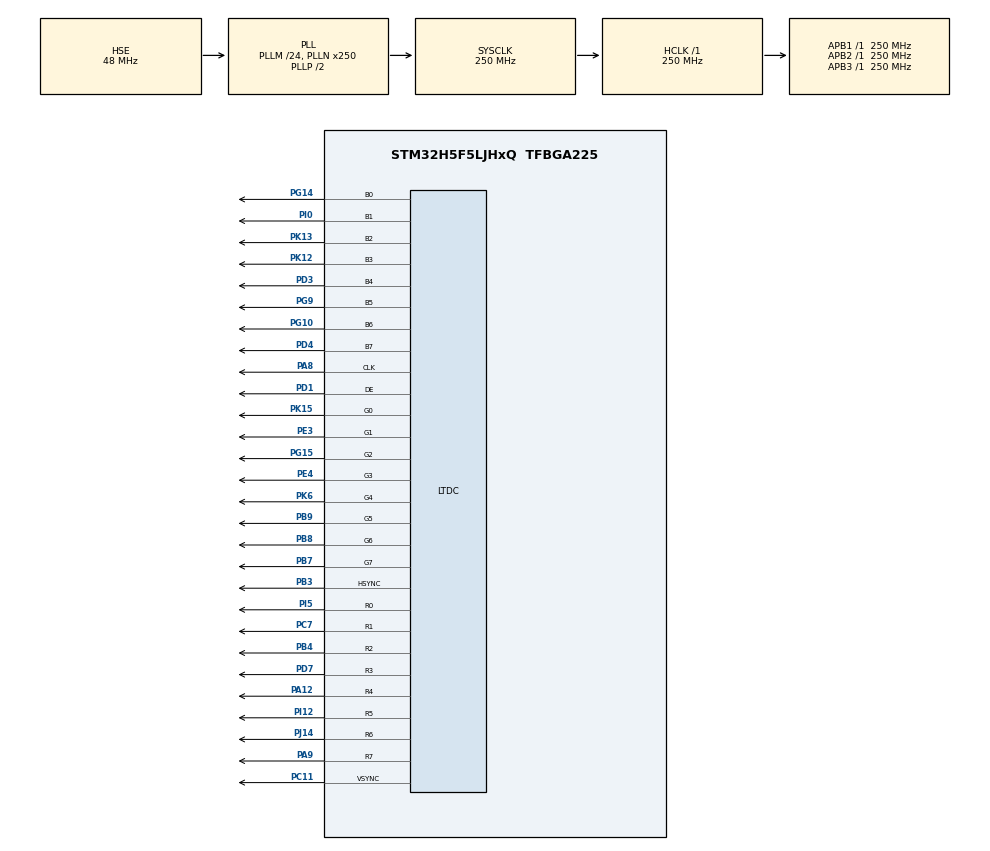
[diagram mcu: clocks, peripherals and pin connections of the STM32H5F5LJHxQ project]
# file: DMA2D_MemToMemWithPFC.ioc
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BOOTPATH.BootPathName=LEGACY
BOOTPATH.UserSelectedBootPath=LEGACY
CORTEX_M33_NS.userName=CORTEX_M33
DMA2D.AlphaModeForeground=DMA2D_NO_MODIF_ALPHA
DMA2D.ColorMode=DMA2D_OUTPUT_ARGB8888
DMA2D.InputAlphaForeground=0xFF
DMA2D.InputColorModeForeground=DMA2D_INPUT_RGB565
DMA2D.Mode=DMA2D_M2M_PFC
DMA2D.OutputOffset=LCD_X_Size - IMAGE_SIZE_X
Mcu.Family=STM32H5
Mcu.Name=STM32H5F5LJHxQ
Mcu.Package=TFBGA225
NVIC.DMA2D_IRQn=true\:0\:0\:false\:false\:true\:true\:true\:true
NVIC.PriorityGroup=NVIC_PRIORITYGROUP_4
PA12.Mode=RGB888
PA12.Signal=LTDC_R4
PA8.Mode=RGB888
PA8.Signal=LTDC_CLK
PA9.Mode=RGB888
PA9.Signal=LTDC_R7
PB3\ (JTDO/TRACESWO).Mode=RGB888
PB3\ (JTDO/TRACESWO).Signal=LTDC_HSYNC
PB4\ (NJTRST).Mode=RGB888
PB4\ (NJTRST).Signal=LTDC_R2
PB7.Mode=RGB888
PB7.Signal=LTDC_G7
PB8.Mode=RGB888
PB8.Signal=LTDC_G6
PB9.Mode=RGB888
PB9.Signal=LTDC_G5
PC11.Mode=RGB888
PC11.Signal=LTDC_VSYNC
PC7.Mode=RGB888
PC7.Signal=LTDC_R1
PD1.Mode=RGB888
PD1.Signal=LTDC_DE
PD3.Mode=RGB888
PD3.Signal=LTDC_B4
PD4.Mode=RGB888
PD4.Signal=LTDC_B7
PD7.Mode=RGB888
PD7.Signal=LTDC_R3
PE3.Mode=RGB888
PE3.Signal=LTDC_G1
PE4.Mode=RGB888
PE4.Signal=LTDC_G3
PG10.Mode=RGB888
PG10.Signal=LTDC_B6
PG14.Mode=RGB888
PG14.Signal=LTDC_B0
PG15.Mode=RGB888
PG15.Signal=LTDC_G2
PG9.Mode=RGB888
PG9.Signal=LTDC_B5
PH0-OSC_IN(PH0).Mode=HSE-External-Oscillator
PH0-OSC_IN(PH0).Signal=RCC_OSC_IN
PH1-OSC_OUT(PH1).Mode=HSE-External-Oscillator
PH1-OSC_OUT(PH1).Signal=RCC_OSC_OUT
PI0.Mode=RGB888
PI0.Signal=LTDC_B1
PI12.Mode=RGB888
PI12.Signal=LTDC_R5
PI5.Mode=RGB888
PI5.Signal=LTDC_R0
PJ14.Mode=RGB888
PJ14.Signal=LTDC_R6
PK12.Mode=RGB888
PK12.Signal=LTDC_B3
PK13.Mode=RGB888
PK13.Signal=LTDC_B2
PK15.Mode=RGB888
PK15.Signal=LTDC_G0
PK6.Mode=RGB888
PK6.Signal=LTDC_G4
ProjectManager.HeapSize=0x200
ProjectManager.StackSize=0x400
ProjectManager.TargetToolchain=EWARM V9.20
RCC.ADCFreq_Value=250000000
RCC.AHBFreq_Value=250000000
RCC.APB1Freq_Value=250000000
RCC.APB1TimFreq_Value=250000000
RCC.APB2Freq_Value=250000000
RCC.APB2TimFreq_Value=250000000
RCC.APB3Freq_Value=250000000
RCC.CSI_VALUE=4000000
RCC.CortexFreq_Value=250000000
RCC.EPOD_VALUE=48000000
RCC.HCLKFreq_Value=250000000
RCC.HSE_VALUE=48000000
RCC.HSI48_VALUE=48000000
RCC.HSI_VALUE=64000000
RCC.LSE_VALUE=32768
RCC.LSIRC_VALUE=32000
RCC.PLL2FRACN=0
RCC.PLL2R=3
RCC.PLL3FRACN=0
RCC.PLLFRACN=0
RCC.PLLM=24
RCC.PLLN=250
RCC.PLLSourceVirtual=RCC_PLL1_SOURCE_HSE
RCC.SYSCLKFreq_VALUE=250000000
RCC.SYSCLKSource=RCC_SYSCLKSOURCE_PLLCLK
RCC.USBFreq_Value=258000000
RCC.VCOOutputFreq_Value=500000000
VP_BOOTPATH_VS_BOOTPATH.Mode=BP_Activate
VP_CORTEX_M33_NS_VS_Hclk.Mode=Hclk_Mode
VP_DMA2D_VS_DMA2D.Mode=DMA2D_Activate
VP_ICACHE_VS_ICACHE.Mode=DefaultMode
VP_PWR_VS_LPOM.Mode=PowerOptimisation
VP_PWR_VS_SECSignals.Mode=Security/Privilege
board=custom

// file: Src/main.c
/* USER CODE BEGIN Header */
/**
  ******************************************************************************
  * @file           : main.c
  * @brief          : Main program body
  ******************************************************************************
  * @attention
  *
  * Copyright (c) 2025 STMicroelectronics.
  * All rights reserved.
  *
  * This software is licensed under terms that can be found in the LICENSE file
  * in the root directory of this software component.
  * If no LICENSE file comes with this software, it is provided AS-IS.
  *
  ******************************************************************************
  */
/* USER CODE END Header */
#include "main.h"

/* USER CODE BEGIN Includes */
#include "RGB565_240x130_2.h"
/* USER CODE END Includes */

DMA2D_HandleTypeDef hdma2d;

/* USER CODE BEGIN PV */
/* image Ready flag */
static __IO uint32_t   image_ready = 0;
static uint32_t   offset_address_image_in_lcd_buffer =  0;
static uint32_t LCD_X_Size = 0, LCD_Y_Size = 0;
/* USER CODE END PV */

void SystemClock_Config(void);
static void MX_GPIO_Init(void);
static void MX_ICACHE_Init(void);
static void MX_DMA2D_Init(void);
/* USER CODE BEGIN PFP */
static void TransferError(DMA2D_HandleTypeDef* dma2dHandle);
static void TransferComplete(DMA2D_HandleTypeDef* dma2dHandle);
/* USER CODE END PFP */

int main(void)
{

  /* USER CODE BEGIN 1 */
  HAL_StatusTypeDef hal_status = HAL_OK;
  uint8_t  lcd_status = BSP_ERROR_NONE;
  /* USER CODE END 1 */

  /* MCU Configuration--------------------------------------------------------*/

  /* Reset of all peripherals, Initializes the Flash interface and the Systick. */
  HAL_Init();

  /* Configure the system clock */
  SystemClock_Config();

  /* USER CODE BEGIN SysInit */
  BSP_LED_Init(LED_GREEN);
  BSP_LED_Init(LED_ORANGE);
  BSP_LED_Init(LED_RED);
  /* USER CODE END SysInit */

  /* Initialize all configured peripherals */
  MX_GPIO_Init();
  MX_ICACHE_Init();
  MX_DMA2D_Init();
  /* USER CODE BEGIN 2 */
  /*##-1- Initialize the LCD #################################################*/
  /* LTDC, DSI initialization and LCD screen initialization */
  lcd_status = BSP_LCD_Init(0, LCD_ORIENTATION_LANDSCAPE);
  UTIL_LCD_SetFuncDriver(&LCD_Driver);
  if(lcd_status != BSP_ERROR_NONE)
  {
     Error_Handler();
  }

  /* Get the LCD width and height */
  BSP_LCD_GetXSize(0,&LCD_X_Size);
  BSP_LCD_GetYSize(0,&LCD_Y_Size);

  offset_address_image_in_lcd_buffer =  ((((LCD_Y_Size - IMAGE_SIZE_Y) / 2) * LCD_X_Size)
                                                     + ((LCD_X_Size - IMAGE_SIZE_X) / 2))
                                                     * ARGB8888_BYTE_PER_PIXEL;

  /* Prepare using DMA2D the LCD frame buffer for display : LCD buffer clear and user message priniting*/
  UTIL_LCD_Clear(UTIL_LCD_COLOR_GRAY);
  UTIL_LCD_SetTextColor(UTIL_LCD_COLOR_WHITE);
  UTIL_LCD_SetBackColor(UTIL_LCD_COLOR_BLUE);
  UTIL_LCD_SetFont(&Font16);

  /* Print example description */
  UTIL_LCD_DisplayStringAt(0, 30, (uint8_t *)"DMA2D_MemToMemWithPFC example", CENTER_MODE);

  HAL_Delay(100);

  /* USER CODE END 2 */

  /* Infinite loop */
  /* USER CODE BEGIN WHILE */
  while (1)
  {
    /* Turn LED1 off */
    BSP_LED_Off(LED_GREEN);

    /* Reset the image ready flag*/
    image_ready = 0;

    /*##-3- Start DMA2D transfer to copy image in center of LCD frame buffer ##*/
    hal_status =  HAL_DMA2D_Start_IT(&hdma2d,
                         (uint32_t)&RGB565_240x130_2,                                       /* Source buffer in format RGB565 and size 320x240      */
                         (uint32_t)LCD_FRAME_BUFFER + offset_address_image_in_lcd_buffer,   /* Destination buffer in format ARGB8888*/
                         IMAGE_SIZE_X,                                                      /* width in pixels  */
                         IMAGE_SIZE_Y);                                                     /* height in pixels */

    if(hal_status != BSP_ERROR_NONE)
    {
       Error_Handler();
    }

    /*##-4- Wait until image is ready to be displayed #########################*/
    while(image_ready == 0) {;}

    HAL_Delay(2000);
    /* USER CODE END WHILE */

  }
}

void SystemClock_Config(void)
{
  RCC_OscInitTypeDef RCC_OscInitStruct = {0};
  RCC_ClkInitTypeDef RCC_ClkInitStruct = {0};

  /** Configure the main internal regulator output voltage
  */
  __HAL_PWR_VOLTAGESCALING_CONFIG(PWR_REGULATOR_VOLTAGE_SCALE0);

  while(!__HAL_PWR_GET_FLAG(PWR_FLAG_VOSRDY)) {}

  /** Initializes the RCC Oscillators according to the specified parameters
  * in the RCC_OscInitTypeDef structure.
  */
  RCC_OscInitStruct.OscillatorType = RCC_OSCILLATORTYPE_HSE|RCC_OSCILLATORTYPE_CSI;
  RCC_OscInitStruct.HSEState = RCC_HSE_ON;
  RCC_OscInitStruct.CSIState = RCC_CSI_ON;
  RCC_OscInitStruct.CSICalibrationValue = RCC_CSICALIBRATION_DEFAULT;
  RCC_OscInitStruct.PLL.PLLState = RCC_PLL_ON;
  RCC_OscInitStruct.PLL.PLLSource = RCC_PLL1_SOURCE_HSE;
  RCC_OscInitStruct.PLL.PLLM = 24;
  RCC_OscInitStruct.PLL.PLLN = 250;
  RCC_OscInitStruct.PLL.PLLP = 2;
  RCC_OscInitStruct.PLL.PLLQ = 2;
  RCC_OscInitStruct.PLL.PLLR = 2;
  RCC_OscInitStruct.PLL.PLLRGE = RCC_PLL1_VCIRANGE_1;
  RCC_OscInitStruct.PLL.PLLVCOSEL = RCC_PLL1_VCORANGE_WIDE;
  RCC_OscInitStruct.PLL.PLLFRACN = 0;
  if (HAL_RCC_OscConfig(&RCC_OscInitStruct) != HAL_OK)
  {
    Error_Handler();
  }

  /** Initializes the CPU, AHB and APB buses clocks
  */
  RCC_ClkInitStruct.ClockType = RCC_CLOCKTYPE_HCLK|RCC_CLOCKTYPE_SYSCLK
                              |RCC_CLOCKTYPE_PCLK1|RCC_CLOCKTYPE_PCLK2
                              |RCC_CLOCKTYPE_PCLK3;
  RCC_ClkInitStruct.SYSCLKSource = RCC_SYSCLKSOURCE_PLLCLK;
  RCC_ClkInitStruct.AHBCLKDivider = RCC_SYSCLK_DIV1;
  RCC_ClkInitStruct.APB1CLKDivider = RCC_HCLK_DIV1;
  RCC_ClkInitStruct.APB2CLKDivider = RCC_HCLK_DIV1;
  RCC_ClkInitStruct.APB3CLKDivider = RCC_HCLK_DIV1;

  if (HAL_RCC_ClockConfig(&RCC_ClkInitStruct, FLASH_LATENCY_5) != HAL_OK)
  {
    Error_Handler();
  }

  /** Configure the programming delay
  */
  __HAL_FLASH_SET_PROGRAM_DELAY(FLASH_PROGRAMMING_DELAY_2);
}

static void MX_DMA2D_Init(void)
{

  /* USER CODE BEGIN DMA2D_Init 0 */
  /* DMA2D Callbacks Configuration */
  hdma2d.XferCpltCallback  = TransferComplete;
  hdma2d.XferErrorCallback = TransferError;
  /* USER CODE END DMA2D_Init 0 */

  hdma2d.Instance = DMA2D;
  hdma2d.Init.Mode = DMA2D_M2M_PFC;
  hdma2d.Init.ColorMode = DMA2D_OUTPUT_ARGB8888;
  hdma2d.Init.OutputOffset = LCD_X_Size - IMAGE_SIZE_X;
  hdma2d.Init.BytesSwap = DMA2D_BYTES_REGULAR;
  hdma2d.Init.LineOffsetMode = DMA2D_LOM_PIXELS;
  hdma2d.LayerCfg[1].InputOffset = 0;
  hdma2d.LayerCfg[1].InputColorMode = DMA2D_INPUT_RGB565;
  hdma2d.LayerCfg[1].AlphaMode = DMA2D_NO_MODIF_ALPHA;
  hdma2d.LayerCfg[1].InputAlpha = 0xFF;
  hdma2d.LayerCfg[1].AlphaInverted = DMA2D_REGULAR_ALPHA;
  hdma2d.LayerCfg[1].RedBlueSwap = DMA2D_RB_REGULAR;
  hdma2d.LayerCfg[1].ChromaSubSampling = DMA2D_NO_CSS;
  if (HAL_DMA2D_Init(&hdma2d) != HAL_OK)
  {
    Error_Handler();
  }
  if (HAL_DMA2D_ConfigLayer(&hdma2d, 1) != HAL_OK)
  {
    Error_Handler();
  }

}

static void MX_ICACHE_Init(void)
{

  /** Enable instruction cache (default 2-ways set associative cache)
  */
  if (HAL_ICACHE_Enable() != HAL_OK)
  {
    Error_Handler();
  }

}

static void MX_GPIO_Init(void)
{

  /* GPIO Ports Clock Enable */
  __HAL_RCC_GPIOH_CLK_ENABLE();

}

/* USER CODE BEGIN 4 */
/**
  * @brief  DMA2D Transfer completed callback
  * @param  hdma2d: DMA2D handle.
  * @note   This example shows a simple way to report end of DMA2D transfer, and
  *         you can add your own implementation.
  * @retval None
  */
static void TransferComplete(DMA2D_HandleTypeDef *hdma2d)
{
  /* Turn LED_GREEN On */
  BSP_LED_On(LED_GREEN);
  image_ready  = 1;
}

/**
  * @brief  DMA2D error callbacks
  * @param  hdma2d: DMA2D handle
  * @note   This example shows a simple way to report DMA2D transfer error, and you can
  *         add your own implementation.
  * @retval None
  */
static void TransferError(DMA2D_HandleTypeDef *hdma2d)
{
  /* Turn LED_ORANGE On */
  BSP_LED_On(LED_ORANGE);
}
/* USER CODE END 4 */

void Error_Handler(void)
{
  /* USER CODE BEGIN Error_Handler_Debug */
  /* User can add his own implementation to report the HAL error return state */
  __disable_irq();
  while (1)
  {
    /* Turn LED_RED On */
    BSP_LED_On(LED_RED);
  }
  /* USER CODE END Error_Handler_Debug */
}
